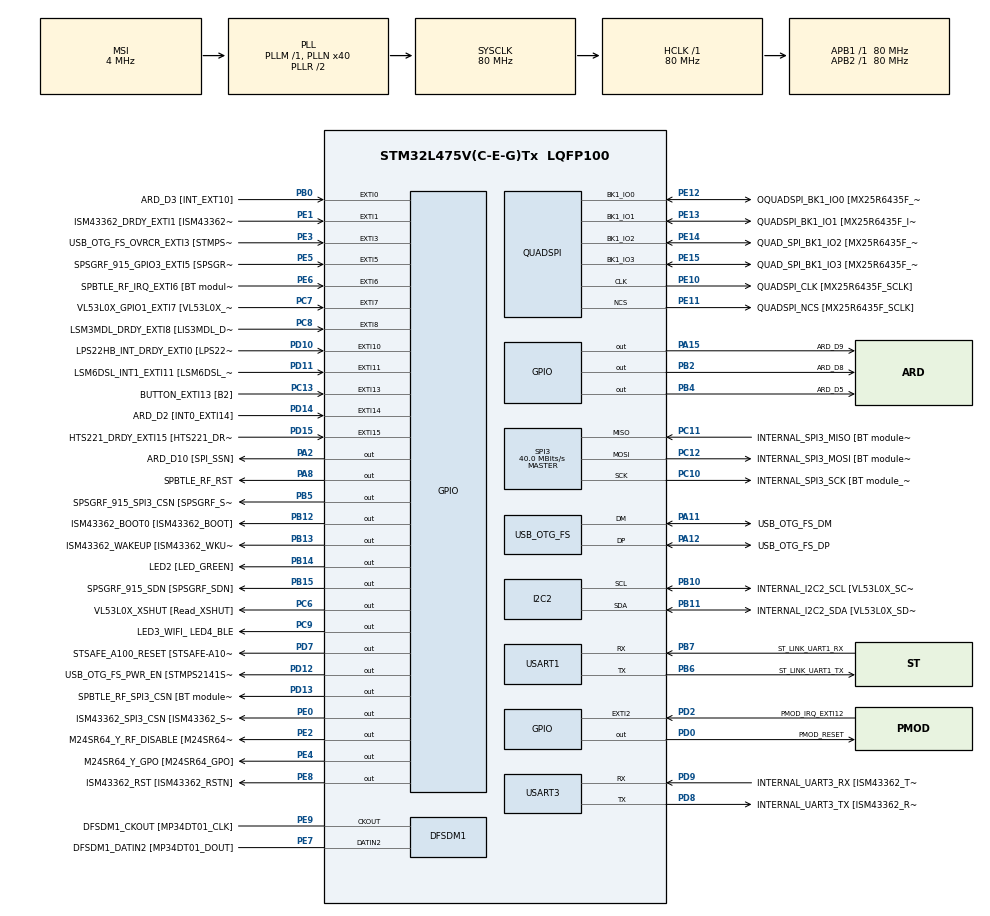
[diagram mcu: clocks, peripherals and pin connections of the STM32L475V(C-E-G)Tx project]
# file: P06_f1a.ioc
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Mcu.Family=STM32L4
Mcu.Name=STM32L475V(C-E-G)Tx
Mcu.Package=LQFP100
NVIC.EXTI15_10_IRQn=true\:0\:0\:false\:false\:true\:true\:true\:true
NVIC.EXTI9_5_IRQn=true\:0\:0\:false\:false\:true\:true\:true\:true
NVIC.OTG_FS_IRQn=true\:0\:0\:false\:false\:true\:true\:true\:true
NVIC.PriorityGroup=NVIC_PRIORITYGROUP_4
PA0.GPIO_Label=ARD_D1 [UART4_TX]
PA0.Signal=UART4_TX
PA1.GPIO_Label=ARD_D0 [UART4_RX]
PA1.Signal=UART4_RX
PA10.GPIO_Label=USB_OTG_FS_ID
PA10.Signal=USB_OTG_FS_ID
PA11.GPIO_Label=USB_OTG_FS_DM
PA11.Mode=Device_Only
PA11.Signal=USB_OTG_FS_DM
PA12.GPIO_Label=USB_OTG_FS_DP
PA12.Mode=Device_Only
PA12.Signal=USB_OTG_FS_DP
PA13\ (JTMS-SWDIO).GPIO_Label=SYS_JTMS_SWDIO
PA13\ (JTMS-SWDIO).Mode=Serial_Wire
PA13\ (JTMS-SWDIO).Signal=SYS_JTMS-SWDIO
PA14\ (JTCK-SWCLK).GPIO_Label=SYS_JTCK_SWCLK
PA14\ (JTCK-SWCLK).Mode=Serial_Wire
PA14\ (JTCK-SWCLK).Signal=SYS_JTCK-SWCLK
PA15\ (JTDI).GPIO_Label=ARD_D9
PA15\ (JTDI).Signal=GPIO_Output
PA2.GPIO_Label=ARD_D10 [SPI_SSN]
PA2.Signal=GPIO_Output
PA3.GPIO_Label=ARD_D4
PA3.Signal=S_TIM2_CH4
PA4.GPIO_Label=ARD_D7
PA4.Signal=ADCx_IN9
PA5.GPIO_Label=ARD_D13 [SPI1_SCK]
PA5.Signal=SPI1_SCK
PA6.GPIO_Label=ARD_D12 [SPI1_MISO]
PA6.Signal=SPI1_MISO
PA7.GPIO_Label=ARD_D11 [SPI1_MOSI]
PA7.Signal=SPI1_MOSI
PA8.GPIO_Label=SPBTLE_RF_RST
PA8.Signal=GPIO_Output
PA9.GPIO_Label=USB_OTG_FS_VBUS [STMPS2141STR_OUT]
PA9.Signal=USB_OTG_FS_VBUS
PB0.GPIO_Label=ARD_D3 [INT_EXT10]
PB0.Signal=GPXTI0
PB1.GPIO_Label=ARD_D6 [ADC1_IN6]
PB1.Signal=ADCx_IN16
PB10.GPIO_Label=INTERNAL_I2C2_SCL [VL53L0X_SCL]
PB10.GPIO_Pu=GPIO_PULLUP
PB10.Mode=I2C
PB10.Signal=I2C2_SCL
PB11.GPIO_Label=INTERNAL_I2C2_SDA [VL53L0X_SDA]
PB11.GPIO_Pu=GPIO_PULLUP
PB11.Mode=I2C
PB11.Signal=I2C2_SDA
PB12.GPIO_Label=ISM43362_BOOT0 [ISM43362_BOOT]
PB12.Signal=GPIO_Output
PB13.GPIO_Label=ISM43362_WAKEUP [ISM43362_WKUP]
PB13.Signal=GPIO_Output
PB14.GPIO_Label=LED2 [LED_GREEN]
PB14.Signal=GPIO_Output
PB15.GPIO_Label=SPSGRF_915_SDN [SPSGRF_SDN]
PB15.Signal=GPIO_Output
PB2.GPIO_Label=ARD_D8
PB2.Signal=GPIO_Output
PB3\ (JTDO-TRACESWO).GPIO_Label=SYS_JTD0_SWO
PB3\ (JTDO-TRACESWO).Signal=SYS_JTDO-SWO
PB4\ (NJTRST).GPIO_Label=ARD_D5
PB4\ (NJTRST).Signal=GPIO_Output
PB5.GPIO_Label=SPSGRF_915_SPI3_CSN [SPSGRF_SPI_CS]
PB5.PinState=GPIO_PIN_SET
PB5.Signal=GPIO_Output
PB6.GPIO_Label=ST_LINK_UART1_TX
PB6.Mode=Asynchronous
PB6.Signal=USART1_TX
PB7.GPIO_Label=ST_LINK_UART1_RX
PB7.Mode=Asynchronous
PB7.Signal=USART1_RX
PB8.GPIO_Label=ARD_D15 [I2C1_SCL]
PB8.Signal=I2C1_SCL
PB9.GPIO_Label=ARD_D14 [I2C1_SDA]
PB9.Signal=I2C1_SDA
PC0.GPIO_Label=ARD_A5 [ADC]
PC0.Signal=ADCx_IN1
PC1.GPIO_Label=ARD_A4 [ADC]
PC1.Signal=ADCx_IN2
PC10.GPIO_Label=INTERNAL_SPI3_SCK [BT module_SPI_SCLK] [ISM43362_SCK]
PC10.Mode=Full_Duplex_Master
PC10.Signal=SPI3_SCK
PC11.GPIO_Label=INTERNAL_SPI3_MISO [BT module_SPI_MISO] [ISM43362_MISO]
PC11.Mode=Full_Duplex_Master
PC11.Signal=SPI3_MISO
PC12.GPIO_Label=INTERNAL_SPI3_MOSI [BT module_SPI_MOSI] [ISM43362_MOSI]
PC12.Mode=Full_Duplex_Master
PC12.Signal=SPI3_MOSI
PC13.GPIO_Label=BUTTON_EXTI13 [B2]
PC13.GPIO_ModeDefaultEXTI=GPIO_MODE_IT_FALLING
PC13.Signal=GPXTI13
PC14-OSC32_IN\ (PC14).Mode=LSE-External-Oscillator
PC14-OSC32_IN\ (PC14).Signal=RCC_OSC32_IN
PC15-OSC32_OUT\ (PC15).Mode=LSE-External-Oscillator
PC15-OSC32_OUT\ (PC15).Signal=RCC_OSC32_OUT
PC2.GPIO_Label=ARD_A3 [ADC]
PC2.Signal=ADCx_IN3
PC3.GPIO_Label=ARD_A2 [ADC]
PC3.Signal=ADCx_IN4
PC4.GPIO_Label=ARD_A1 [ADC]
PC4.Signal=ADCx_IN13
PC5.GPIO_Label=ARD_A0 [ADC]
PC5.Signal=ADCx_IN14
PC6.GPIO_Label=VL53L0X_XSHUT [Read_XSHUT]
PC6.Signal=GPIO_Output
PC7.GPIO_Label=VL53L0X_GPIO1_EXTI7 [VL53L0X_GPIO1]
PC7.Signal=GPXTI7
PC8.GPIO_Label=LSM3MDL_DRDY_EXTI8 [LIS3MDL_DRDY]
PC8.Signal=GPXTI8
PC9.GPIO_Label=LED3_WIFI_ LED4_BLE
PC9.Signal=GPIO_Output
PD0.GPIO_Label=PMOD_RESET
PD0.Signal=GPIO_Output
PD1.GPIO_Label=PMOD_SPI2_SCK
PD1.Signal=SPI2_SCK
PD10.GPIO_Label=LPS22HB_INT_DRDY_EXTI0 [LPS22HB_INT_DRDY] 
PD10.Signal=GPXTI10
PD11.GPIO_Label=LSM6DSL_INT1_EXTI11 [LSM6DSL_INT1]
PD11.Signal=GPXTI11
PD12.GPIO_Label=USB_OTG_FS_PWR_EN [STMPS2141STR_EN]
PD12.Signal=GPIO_Output
PD13.GPIO_Label=SPBTLE_RF_SPI3_CSN [BT module_SPI_CS]
PD13.PinState=GPIO_PIN_SET
PD13.Signal=GPIO_Output
PD14.GPIO_Label=ARD_D2 [INT0_EXTI14]
PD14.Signal=GPXTI14
PD15.GPIO_Label=HTS221_DRDY_EXTI15 [HTS221_DRDY]
PD15.Signal=GPXTI15
PD2.GPIO_Label=PMOD_IRQ_EXTI12
PD2.Signal=GPXTI2
PD3.GPIO_Label=PMOD_UART2_CTS
PD3.Signal=USART2_CTS
PD4.GPIO_Label=PMOD_UART2_RTS
PD4.Signal=USART2_RTS
PD5.GPIO_Label=PMOD_UART2_TX
PD5.Signal=USART2_TX
PD6.GPIO_Label=PMOD_UART2_RX
PD6.Signal=USART2_RX
PD7.GPIO_Label=STSAFE_A100_RESET [STSAFE-A100_RESET]
PD7.Signal=GPIO_Output
PD8.GPIO_Label=INTERNAL_UART3_TX [ISM43362_RX]
PD8.Mode=Asynchronous
PD8.Signal=USART3_TX
PD9.GPIO_Label=INTERNAL_UART3_RX [ISM43362_TX]
PD9.Mode=Asynchronous
PD9.Signal=USART3_RX
PE0.GPIO_Label=ISM43362_SPI3_CSN [ISM43362_SSN]
PE0.PinState=GPIO_PIN_SET
PE0.Signal=GPIO_Output
PE1.GPIO_Label=ISM43362_DRDY_EXTI1 [ISM43362_DATARDY]
PE1.Signal=GPXTI1
PE10.GPIO_Label=QUADSPI_CLK [MX25R6435F_SCLK]
PE10.Mode=Single Bank
PE10.Signal=QUADSPI_CLK
PE11.GPIO_Label=QUADSPI_NCS [MX25R6435F_SCLK]
PE11.Mode=Single Bank
PE11.Signal=QUADSPI_NCS
PE12.GPIO_Label=OQUADSPI_BK1_IO0 [MX25R6435F_IO0]
PE12.Mode=Single Bank
PE12.Signal=QUADSPI_BK1_IO0
PE13.GPIO_Label=QUADSPI_BK1_IO1 [MX25R6435F_IO1]
PE13.Mode=Single Bank
PE13.Signal=QUADSPI_BK1_IO1
PE14.GPIO_Label=QUAD_SPI_BK1_IO2 [MX25R6435F_IO2]
PE14.Mode=Single Bank
PE14.Signal=QUADSPI_BK1_IO2
PE15.GPIO_Label=QUAD_SPI_BK1_IO3 [MX25R6435F_IO3]
PE15.Mode=Single Bank
PE15.Signal=QUADSPI_BK1_IO3
PE2.GPIO_Label=M24SR64_Y_RF_DISABLE [M24SR64_RFDIS]
PE2.Signal=GPIO_Output
PE3.GPIO_Label=USB_OTG_FS_OVRCR_EXTI3 [STMPS2141STR_FAULT]
PE3.Signal=GPXTI3
PE4.GPIO_Label=M24SR64_Y_GPO [M24SR64_GPO]
PE4.Signal=GPIO_Output
PE5.GPIO_Label=SPSGRF_915_GPIO3_EXTI5 [SPSGRF_GPIO_3]
PE5.Signal=GPXTI5
PE6.GPIO_Label=SPBTLE_RF_IRQ_EXTI6 [BT module_SPI_IRQ]
PE6.Signal=GPXTI6
PE7.GPIO_Label=DFSDM1_DATIN2 [MP34DT01_DOUT]
PE7.Signal=S_DATAIN2DFSDM1
PE8.GPIO_Label=ISM43362_RST [ISM43362_RSTN]
PE8.Signal=GPIO_Output
PE9.GPIO_Label=DFSDM1_CKOUT [MP34DT01_CLK]
PE9.Signal=S_CKOUTDFSDM1
ProjectManager.HeapSize=0x200
ProjectManager.StackSize=0x400
ProjectManager.TargetToolchain=STM32CubeIDE
QUADSPI.ClockPrescaler=2
QUADSPI.FifoThreshold=4
QUADSPI.FlashSize=23
QUADSPI.SampleShifting=QSPI_SAMPLE_SHIFTING_HALFCYCLE
RCC.ADCFreq_Value=48000000
RCC.AHBFreq_Value=80000000
RCC.APB1Freq_Value=80000000
RCC.APB1TimFreq_Value=80000000
RCC.APB2Freq_Value=80000000
RCC.APB2TimFreq_Value=80000000
RCC.CortexFreq_Value=80000000
RCC.HCLKFreq_Value=80000000
RCC.HSE_VALUE=8000000
RCC.HSI_VALUE=16000000
RCC.MSI_VALUE=4000000
RCC.PLLN=40
RCC.PLLSAI1N=24
RCC.SYSCLKFreq_VALUE=80000000
RCC.SYSCLKSource=RCC_SYSCLKSOURCE_PLLCLK
RCC.USBFreq_Value=48000000
RCC.VCOOutputFreq_Value=160000000
SH.ADCx_IN1.0=ADC1_IN1
SH.ADCx_IN13.0=ADC1_IN13
SH.ADCx_IN14.0=ADC1_IN14
SH.ADCx_IN16.0=ADC1_IN16
SH.ADCx_IN2.0=ADC1_IN2
SH.ADCx_IN3.0=ADC1_IN3
SH.ADCx_IN4.0=ADC1_IN4
SH.ADCx_IN9.0=ADC1_IN9
SH.S_CKOUTDFSDM1.0=DFSDM1_CKOUT,CKOUT
SH.S_CKOUTDFSDM1.1=DFSDM1_CKOUT,PDM_SPI_Input_from_ch12_and_Internal_Clock
SH.S_DATAIN2DFSDM1.0=DFSDM1_DATIN2,PDM_SPI_Input_from_ch12_and_Internal_Clock
SH.S_TIM2_CH4.0=TIM2_CH4
SPI3.CalculateBaudRate=40.0 MBits/s
SPI3.Direction=SPI_DIRECTION_2LINES
SPI3.Mode=SPI_MODE_MASTER
SPI3.VirtualType=VM_MASTER
USART1.VirtualMode-Asynchronous=VM_ASYNC
USART3.VirtualMode-Asynchronous=VM_ASYNC
USB_DEVICE.CLASS_NAME_FS=CUSTOM_HID
USB_DEVICE.USBD_CUSTOMHID_OUTREPORT_BUF_SIZE=4
USB_DEVICE.USBD_CUSTOM_HID_REPORT_DESC_SIZE=74
USB_DEVICE.VirtualMode=CustomHid
USB_DEVICE.VirtualModeFS=Custom_Hid_FS
USB_OTG_FS.VirtualMode=Device_Only
VP_USB_DEVICE_VS_USB_DEVICE_CUSTOM_HID_FS.Mode=CUSTOM_HID_FS
board=B-L475E-IOT01A1

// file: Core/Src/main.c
/* USER CODE BEGIN Header */
/**
  ******************************************************************************
  * @file           : main.c
  * @brief          : Main program body
  ******************************************************************************
  * @attention
  *
  * Copyright (c) 2024 STMicroelectronics.
  * All rights reserved.
  *
  * This software is licensed under terms that can be found in the LICENSE file
  * in the root directory of this software component.
  * If no LICENSE file comes with this software, it is provided AS-IS.
  *
  ******************************************************************************
  */
/* USER CODE END Header */
#include "main.h"
#include "usb_device.h"

#define USER_BUTTON_PIN GPIO_PIN_0
#define USER_BUTTON_PORT GPIOA

DFSDM_Channel_HandleTypeDef hdfsdm1_channel1;

I2C_HandleTypeDef hi2c2;

QSPI_HandleTypeDef hqspi;

SPI_HandleTypeDef hspi3;

UART_HandleTypeDef huart1;
UART_HandleTypeDef huart3;

void SystemClock_Config(void);
static void MX_GPIO_Init(void);
static void MX_DFSDM1_Init(void);
static void MX_I2C2_Init(void);
static void MX_QUADSPI_Init(void);
static void MX_SPI3_Init(void);
static void MX_USART1_UART_Init(void);
static void MX_USART3_UART_Init(void);

int main(void)
{
  /* USER CODE BEGIN 1 */
	int i; //declaramos las variables que vamos a usar en nuestra función
	uint8_t dato[3]; // esta es la variable donde vamos a mandar el report
  /* USER CODE END 1 */

  /* MCU Configuration--------------------------------------------------------*/

  /* Reset of all peripherals, Initializes the Flash interface and the Systick. */
  HAL_Init();

  /* USER CODE BEGIN Init */
  int16_t readAccel(uint8_t axxis){
  	uint8_t buffer[2];
  	int16_t accel;

  	uint8_t regAddr = 0x28 + (axxis * 2);

  	HAL_I2C_Mem_Read(&hi2c2, 0xD4, regAddr, I2C_MEMADD_SIZE_8BIT, buffer, 2, 1000);

  	accel=((int16_t)(buffer[1]<<8)|buffer[0])*0.00061;
  	if(axxis==0){
  		accel=-accel;
  	}
  	return accel;

  }

  void initAccelerometer(void){
  	uint8_t buffer[1];
  	buffer[0]=0x40;
  	HAL_I2C_Mem_Write(&hi2c2, 0xD4, 0x10, I2C_MEMADD_SIZE_8BIT, buffer, 1, 1000);
  }

  /* USER CODE END Init */

  /* Configure the system clock */
  SystemClock_Config();

  /* Initialize all configured peripherals */
  MX_GPIO_Init();
  MX_DFSDM1_Init();
  MX_I2C2_Init();
  MX_QUADSPI_Init();
  MX_SPI3_Init();
  MX_USART1_UART_Init();
  MX_USART3_UART_Init();
  MX_USB_DEVICE_Init();
  initAccelerometer();

  GPIO_InitTypeDef GPIO_InitStruct;
  GPIO_InitStruct.Pin = USER_BUTTON_PIN;
  GPIO_InitStruct.Mode = GPIO_MODE_INPUT;
  GPIO_InitStruct.Pull = GPIO_PULLUP; // Usar resistencia de pull-up interna
  HAL_GPIO_Init(USER_BUTTON_PORT, &GPIO_InitStruct);

  /* USER CODE BEGIN 2 */
  HAL_Delay(5000); //retraso para esperar a que el USB se configure
  dato[0]=0; //estos son los tres botones, ninguno pulsado
  /* USER CODE END 2 */

  /* Infinite loop */
  /* USER CODE BEGIN WHILE */
  while (1)
  {
// segunda parte fase1
	 int16_t x;
	 int16_t y;

	 x= readAccel(0);
	 y= readAccel(1);
	 if(HAL_GPIO_ReadPin(GPIOA, GPIO_PIN_0) == GPIO_PIN_RESET){
		 dato[0]=2;
	 }
	 dato[1]=x; //cada 100ms desplazamos el ratón 4 posiciones
	 dato[2]=y;
	 USBD_CUSTOM_HID_SendReport_FS(dato,3);
	 HAL_Delay(100);

// parte primera fase1
//	  for (i=0;i<50;i++){
//	   dato[1]=4; //cada 100ms desplazamos el ratón 4 posiciones
//	   dato[2]=4;
//	   USBD_CUSTOM_HID_SendReport_FS(dato,3);
//	   HAL_Delay(100);
//	  }
//	  for (i=0;i<50;i++){
//	   dato[1]=-4;
//	   dato[2]=-4;
//	   USBD_CUSTOM_HID_SendReport_FS(dato,3);
//	   HAL_Delay(100);
//	  }

    /* USER CODE END WHILE */

  }
}

void SystemClock_Config(void)
{
  RCC_OscInitTypeDef RCC_OscInitStruct = {0};
  RCC_ClkInitTypeDef RCC_ClkInitStruct = {0};

  /** Configure the main internal regulator output voltage
  */
  if (HAL_PWREx_ControlVoltageScaling(PWR_REGULATOR_VOLTAGE_SCALE1) != HAL_OK)
  {
    Error_Handler();
  }

  /** Configure LSE Drive Capability
  */
  HAL_PWR_EnableBkUpAccess();
  __HAL_RCC_LSEDRIVE_CONFIG(RCC_LSEDRIVE_LOW);

  /** Initializes the RCC Oscillators according to the specified parameters
  * in the RCC_OscInitTypeDef structure.
  */
  RCC_OscInitStruct.OscillatorType = RCC_OSCILLATORTYPE_LSE|RCC_OSCILLATORTYPE_MSI;
  RCC_OscInitStruct.LSEState = RCC_LSE_ON;
  RCC_OscInitStruct.MSIState = RCC_MSI_ON;
  RCC_OscInitStruct.MSICalibrationValue = 0;
  RCC_OscInitStruct.MSIClockRange = RCC_MSIRANGE_6;
  RCC_OscInitStruct.PLL.PLLState = RCC_PLL_ON;
  RCC_OscInitStruct.PLL.PLLSource = RCC_PLLSOURCE_MSI;
  RCC_OscInitStruct.PLL.PLLM = 1;
  RCC_OscInitStruct.PLL.PLLN = 40;
  RCC_OscInitStruct.PLL.PLLP = RCC_PLLP_DIV7;
  RCC_OscInitStruct.PLL.PLLQ = RCC_PLLQ_DIV2;
  RCC_OscInitStruct.PLL.PLLR = RCC_PLLR_DIV2;
  if (HAL_RCC_OscConfig(&RCC_OscInitStruct) != HAL_OK)
  {
    Error_Handler();
  }

  /** Initializes the CPU, AHB and APB buses clocks
  */
  RCC_ClkInitStruct.ClockType = RCC_CLOCKTYPE_HCLK|RCC_CLOCKTYPE_SYSCLK
                              |RCC_CLOCKTYPE_PCLK1|RCC_CLOCKTYPE_PCLK2;
  RCC_ClkInitStruct.SYSCLKSource = RCC_SYSCLKSOURCE_PLLCLK;
  RCC_ClkInitStruct.AHBCLKDivider = RCC_SYSCLK_DIV1;
  RCC_ClkInitStruct.APB1CLKDivider = RCC_HCLK_DIV1;
  RCC_ClkInitStruct.APB2CLKDivider = RCC_HCLK_DIV1;

  if (HAL_RCC_ClockConfig(&RCC_ClkInitStruct, FLASH_LATENCY_4) != HAL_OK)
  {
    Error_Handler();
  }

  /** Enable MSI Auto calibration
  */
  HAL_RCCEx_EnableMSIPLLMode();
}

static void MX_DFSDM1_Init(void)
{

  hdfsdm1_channel1.Instance = DFSDM1_Channel1;
  hdfsdm1_channel1.Init.OutputClock.Activation = ENABLE;
  hdfsdm1_channel1.Init.OutputClock.Selection = DFSDM_CHANNEL_OUTPUT_CLOCK_SYSTEM;
  hdfsdm1_channel1.Init.OutputClock.Divider = 2;
  hdfsdm1_channel1.Init.Input.Multiplexer = DFSDM_CHANNEL_EXTERNAL_INPUTS;
  hdfsdm1_channel1.Init.Input.DataPacking = DFSDM_CHANNEL_STANDARD_MODE;
  hdfsdm1_channel1.Init.Input.Pins = DFSDM_CHANNEL_FOLLOWING_CHANNEL_PINS;
  hdfsdm1_channel1.Init.SerialInterface.Type = DFSDM_CHANNEL_SPI_RISING;
  hdfsdm1_channel1.Init.SerialInterface.SpiClock = DFSDM_CHANNEL_SPI_CLOCK_INTERNAL;
  hdfsdm1_channel1.Init.Awd.FilterOrder = DFSDM_CHANNEL_FASTSINC_ORDER;
  hdfsdm1_channel1.Init.Awd.Oversampling = 1;
  hdfsdm1_channel1.Init.Offset = 0;
  hdfsdm1_channel1.Init.RightBitShift = 0x00;
  if (HAL_DFSDM_ChannelInit(&hdfsdm1_channel1) != HAL_OK)
  {
    Error_Handler();
  }

}

static void MX_I2C2_Init(void)
{

  hi2c2.Instance = I2C2;
  hi2c2.Init.Timing = 0x00000E14;
  hi2c2.Init.OwnAddress1 = 0;
  hi2c2.Init.AddressingMode = I2C_ADDRESSINGMODE_7BIT;
  hi2c2.Init.DualAddressMode = I2C_DUALADDRESS_DISABLE;
  hi2c2.Init.OwnAddress2 = 0;
  hi2c2.Init.OwnAddress2Masks = I2C_OA2_NOMASK;
  hi2c2.Init.GeneralCallMode = I2C_GENERALCALL_DISABLE;
  hi2c2.Init.NoStretchMode = I2C_NOSTRETCH_DISABLE;
  if (HAL_I2C_Init(&hi2c2) != HAL_OK)
  {
    Error_Handler();
  }

  /** Configure Analogue filter
  */
  if (HAL_I2CEx_ConfigAnalogFilter(&hi2c2, I2C_ANALOGFILTER_ENABLE) != HAL_OK)
  {
    Error_Handler();
  }

  /** Configure Digital filter
  */
  if (HAL_I2CEx_ConfigDigitalFilter(&hi2c2, 0) != HAL_OK)
  {
    Error_Handler();
  }

}

static void MX_QUADSPI_Init(void)
{

  /* QUADSPI parameter configuration*/
  hqspi.Instance = QUADSPI;
  hqspi.Init.ClockPrescaler = 2;
  hqspi.Init.FifoThreshold = 4;
  hqspi.Init.SampleShifting = QSPI_SAMPLE_SHIFTING_HALFCYCLE;
  hqspi.Init.FlashSize = 23;
  hqspi.Init.ChipSelectHighTime = QSPI_CS_HIGH_TIME_1_CYCLE;
  hqspi.Init.ClockMode = QSPI_CLOCK_MODE_0;
  if (HAL_QSPI_Init(&hqspi) != HAL_OK)
  {
    Error_Handler();
  }

}

static void MX_SPI3_Init(void)
{

  /* SPI3 parameter configuration*/
  hspi3.Instance = SPI3;
  hspi3.Init.Mode = SPI_MODE_MASTER;
  hspi3.Init.Direction = SPI_DIRECTION_2LINES;
  hspi3.Init.DataSize = SPI_DATASIZE_4BIT;
  hspi3.Init.CLKPolarity = SPI_POLARITY_LOW;
  hspi3.Init.CLKPhase = SPI_PHASE_1EDGE;
  hspi3.Init.NSS = SPI_NSS_SOFT;
  hspi3.Init.BaudRatePrescaler = SPI_BAUDRATEPRESCALER_2;
  hspi3.Init.FirstBit = SPI_FIRSTBIT_MSB;
  hspi3.Init.TIMode = SPI_TIMODE_DISABLE;
  hspi3.Init.CRCCalculation = SPI_CRCCALCULATION_DISABLE;
  hspi3.Init.CRCPolynomial = 7;
  hspi3.Init.CRCLength = SPI_CRC_LENGTH_DATASIZE;
  hspi3.Init.NSSPMode = SPI_NSS_PULSE_ENABLE;
  if (HAL_SPI_Init(&hspi3) != HAL_OK)
  {
    Error_Handler();
  }

}

static void MX_USART1_UART_Init(void)
{

  huart1.Instance = USART1;
  huart1.Init.BaudRate = 115200;
  huart1.Init.WordLength = UART_WORDLENGTH_8B;
  huart1.Init.StopBits = UART_STOPBITS_1;
  huart1.Init.Parity = UART_PARITY_NONE;
  huart1.Init.Mode = UART_MODE_TX_RX;
  huart1.Init.HwFlowCtl = UART_HWCONTROL_NONE;
  huart1.Init.OverSampling = UART_OVERSAMPLING_16;
  huart1.Init.OneBitSampling = UART_ONE_BIT_SAMPLE_DISABLE;
  huart1.AdvancedInit.AdvFeatureInit = UART_ADVFEATURE_NO_INIT;
  if (HAL_UART_Init(&huart1) != HAL_OK)
  {
    Error_Handler();
  }

}

static void MX_USART3_UART_Init(void)
{

  huart3.Instance = USART3;
  huart3.Init.BaudRate = 115200;
  huart3.Init.WordLength = UART_WORDLENGTH_8B;
  huart3.Init.StopBits = UART_STOPBITS_1;
  huart3.Init.Parity = UART_PARITY_NONE;
  huart3.Init.Mode = UART_MODE_TX_RX;
  huart3.Init.HwFlowCtl = UART_HWCONTROL_NONE;
  huart3.Init.OverSampling = UART_OVERSAMPLING_16;
  huart3.Init.OneBitSampling = UART_ONE_BIT_SAMPLE_DISABLE;
  huart3.AdvancedInit.AdvFeatureInit = UART_ADVFEATURE_NO_INIT;
  if (HAL_UART_Init(&huart3) != HAL_OK)
  {
    Error_Handler();
  }

}

static void MX_GPIO_Init(void)
{
  GPIO_InitTypeDef GPIO_InitStruct = {0};

  /* GPIO Ports Clock Enable */
  __HAL_RCC_GPIOE_CLK_ENABLE();
  __HAL_RCC_GPIOC_CLK_ENABLE();
  __HAL_RCC_GPIOA_CLK_ENABLE();
  __HAL_RCC_GPIOB_CLK_ENABLE();
  __HAL_RCC_GPIOD_CLK_ENABLE();

  /*Configure GPIO pin Output Level */
  HAL_GPIO_WritePin(GPIOE, M24SR64_Y_RF_DISABLE_Pin|M24SR64_Y_GPO_Pin|ISM43362_RST_Pin, GPIO_PIN_RESET);

  /*Configure GPIO pin Output Level */
  HAL_GPIO_WritePin(GPIOA, ARD_D10_Pin|SPBTLE_RF_RST_Pin|ARD_D9_Pin, GPIO_PIN_RESET);

  /*Configure GPIO pin Output Level */
  HAL_GPIO_WritePin(GPIOB, ARD_D8_Pin|ISM43362_BOOT0_Pin|ISM43362_WAKEUP_Pin|LED2_Pin
                          |SPSGRF_915_SDN_Pin|ARD_D5_Pin, GPIO_PIN_RESET);

  /*Configure GPIO pin Output Level */
  HAL_GPIO_WritePin(GPIOD, USB_OTG_FS_PWR_EN_Pin|PMOD_RESET_Pin|STSAFE_A100_RESET_Pin, GPIO_PIN_RESET);

  /*Configure GPIO pin Output Level */
  HAL_GPIO_WritePin(SPBTLE_RF_SPI3_CSN_GPIO_Port, SPBTLE_RF_SPI3_CSN_Pin, GPIO_PIN_SET);

  /*Configure GPIO pin Output Level */
  HAL_GPIO_WritePin(GPIOC, VL53L0X_XSHUT_Pin|LED3_WIFI__LED4_BLE_Pin, GPIO_PIN_RESET);

  /*Configure GPIO pin Output Level */
  HAL_GPIO_WritePin(SPSGRF_915_SPI3_CSN_GPIO_Port, SPSGRF_915_SPI3_CSN_Pin, GPIO_PIN_SET);

  /*Configure GPIO pin Output Level */
  HAL_GPIO_WritePin(ISM43362_SPI3_CSN_GPIO_Port, ISM43362_SPI3_CSN_Pin, GPIO_PIN_SET);

  /*Configure GPIO pins : M24SR64_Y_RF_DISABLE_Pin M24SR64_Y_GPO_Pin ISM43362_RST_Pin ISM43362_SPI3_CSN_Pin */
  GPIO_InitStruct.Pin = M24SR64_Y_RF_DISABLE_Pin|M24SR64_Y_GPO_Pin|ISM43362_RST_Pin|ISM43362_SPI3_CSN_Pin;
  GPIO_InitStruct.Mode = GPIO_MODE_OUTPUT_PP;
  GPIO_InitStruct.Pull = GPIO_NOPULL;
  GPIO_InitStruct.Speed = GPIO_SPEED_FREQ_LOW;
  HAL_GPIO_Init(GPIOE, &GPIO_InitStruct);

  /*Configure GPIO pins : USB_OTG_FS_OVRCR_EXTI3_Pin SPSGRF_915_GPIO3_EXTI5_Pin SPBTLE_RF_IRQ_EXTI6_Pin ISM43362_DRDY_EXTI1_Pin */
  GPIO_InitStruct.Pin = USB_OTG_FS_OVRCR_EXTI3_Pin|SPSGRF_915_GPIO3_EXTI5_Pin|SPBTLE_RF_IRQ_EXTI6_Pin|ISM43362_DRDY_EXTI1_Pin;
  GPIO_InitStruct.Mode = GPIO_MODE_IT_RISING;
  GPIO_InitStruct.Pull = GPIO_NOPULL;
  HAL_GPIO_Init(GPIOE, &GPIO_InitStruct);

  /*Configure GPIO pin : BUTTON_EXTI13_Pin */
  GPIO_InitStruct.Pin = BUTTON_EXTI13_Pin;
  GPIO_InitStruct.Mode = GPIO_MODE_IT_FALLING;
  GPIO_InitStruct.Pull = GPIO_NOPULL;
  HAL_GPIO_Init(BUTTON_EXTI13_GPIO_Port, &GPIO_InitStruct);

  /*Configure GPIO pins : ARD_A5_Pin ARD_A4_Pin ARD_A3_Pin ARD_A2_Pin
                           ARD_A1_Pin ARD_A0_Pin */
  GPIO_InitStruct.Pin = ARD_A5_Pin|ARD_A4_Pin|ARD_A3_Pin|ARD_A2_Pin
                          |ARD_A1_Pin|ARD_A0_Pin;
  GPIO_InitStruct.Mode = GPIO_MODE_ANALOG_ADC_CONTROL;
  GPIO_InitStruct.Pull = GPIO_NOPULL;
  HAL_GPIO_Init(GPIOC, &GPIO_InitStruct);

  /*Configure GPIO pins : ARD_D1_Pin ARD_D0_Pin */
  GPIO_InitStruct.Pin = ARD_D1_Pin|ARD_D0_Pin;
  GPIO_InitStruct.Mode = GPIO_MODE_AF_PP;
  GPIO_InitStruct.Pull = GPIO_NOPULL;
  GPIO_InitStruct.Speed = GPIO_SPEED_FREQ_VERY_HIGH;
  GPIO_InitStruct.Alternate = GPIO_AF8_UART4;
  HAL_GPIO_Init(GPIOA, &GPIO_InitStruct);

  /*Configure GPIO pins : ARD_D10_Pin SPBTLE_RF_RST_Pin ARD_D9_Pin */
  GPIO_InitStruct.Pin = ARD_D10_Pin|SPBTLE_RF_RST_Pin|ARD_D9_Pin;
  GPIO_InitStruct.Mode = GPIO_MODE_OUTPUT_PP;
  GPIO_InitStruct.Pull = GPIO_NOPULL;
  GPIO_InitStruct.Speed = GPIO_SPEED_FREQ_LOW;
  HAL_GPIO_Init(GPIOA, &GPIO_InitStruct);

  /*Configure GPIO pin : ARD_D4_Pin */
  GPIO_InitStruct.Pin = ARD_D4_Pin;
  GPIO_InitStruct.Mode = GPIO_MODE_AF_PP;
  GPIO_InitStruct.Pull = GPIO_NOPULL;
  GPIO_InitStruct.Speed = GPIO_SPEED_FREQ_LOW;
  GPIO_InitStruct.Alternate = GPIO_AF1_TIM2;
  HAL_GPIO_Init(ARD_D4_GPIO_Port, &GPIO_InitStruct);

  /*Configure GPIO pin : ARD_D7_Pin */
  GPIO_InitStruct.Pin = ARD_D7_Pin;
  GPIO_InitStruct.Mode = GPIO_MODE_ANALOG_ADC_CONTROL;
  GPIO_InitStruct.Pull = GPIO_NOPULL;
  HAL_GPIO_Init(ARD_D7_GPIO_Port, &GPIO_InitStruct);

  /*Configure GPIO pins : ARD_D13_Pin ARD_D12_Pin ARD_D11_Pin */
  GPIO_InitStruct.Pin = ARD_D13_Pin|ARD_D12_Pin|ARD_D11_Pin;
  GPIO_InitStruct.Mode = GPIO_MODE_AF_PP;
  GPIO_InitStruct.Pull = GPIO_NOPULL;
  GPIO_InitStruct.Speed = GPIO_SPEED_FREQ_VERY_HIGH;
  GPIO_InitStruct.Alternate = GPIO_AF5_SPI1;
  HAL_GPIO_Init(GPIOA, &GPIO_InitStruct);

  /*Configure GPIO pin : ARD_D3_Pin */
  GPIO_InitStruct.Pin = ARD_D3_Pin;
  GPIO_InitStruct.Mode = GPIO_MODE_IT_RISING;
  GPIO_InitStruct.Pull = GPIO_NOPULL;
  HAL_GPIO_Init(ARD_D3_GPIO_Port, &GPIO_InitStruct);

  /*Configure GPIO pin : ARD_D6_Pin */
  GPIO_InitStruct.Pin = ARD_D6_Pin;
  GPIO_InitStruct.Mode = GPIO_MODE_ANALOG_ADC_CONTROL;
  GPIO_InitStruct.Pull = GPIO_NOPULL;
  HAL_GPIO_Init(ARD_D6_GPIO_Port, &GPIO_InitStruct);

  /*Configure GPIO pins : ARD_D8_Pin ISM43362_BOOT0_Pin ISM43362_WAKEUP_Pin LED2_Pin
                           SPSGRF_915_SDN_Pin ARD_D5_Pin SPSGRF_915_SPI3_CSN_Pin */
  GPIO_InitStruct.Pin = ARD_D8_Pin|ISM43362_BOOT0_Pin|ISM43362_WAKEUP_Pin|LED2_Pin
                          |SPSGRF_915_SDN_Pin|ARD_D5_Pin|SPSGRF_915_SPI3_CSN_Pin;
  GPIO_InitStruct.Mode = GPIO_MODE_OUTPUT_PP;
  GPIO_InitStruct.Pull = GPIO_NOPULL;
  GPIO_InitStruct.Speed = GPIO_SPEED_FREQ_LOW;
  HAL_GPIO_Init(GPIOB, &GPIO_InitStruct);

  /*Configure GPIO pins : LPS22HB_INT_DRDY_EXTI0_Pin LSM6DSL_INT1_EXTI11_Pin ARD_D2_Pin HTS221_DRDY_EXTI15_Pin
                           PMOD_IRQ_EXTI12_Pin */
  GPIO_InitStruct.Pin = LPS22HB_INT_DRDY_EXTI0_Pin|LSM6DSL_INT1_EXTI11_Pin|ARD_D2_Pin|HTS221_DRDY_EXTI15_Pin
                          |PMOD_IRQ_EXTI12_Pin;
  GPIO_InitStruct.Mode = GPIO_MODE_IT_RISING;
  GPIO_InitStruct.Pull = GPIO_NOPULL;
  HAL_GPIO_Init(GPIOD, &GPIO_InitStruct);

  /*Configure GPIO pins : USB_OTG_FS_PWR_EN_Pin SPBTLE_RF_SPI3_CSN_Pin PMOD_RESET_Pin STSAFE_A100_RESET_Pin */
  GPIO_InitStruct.Pin = USB_OTG_FS_PWR_EN_Pin|SPBTLE_RF_SPI3_CSN_Pin|PMOD_RESET_Pin|STSAFE_A100_RESET_Pin;
  GPIO_InitStruct.Mode = GPIO_MODE_OUTPUT_PP;
  GPIO_InitStruct.Pull = GPIO_NOPULL;
  GPIO_InitStruct.Speed = GPIO_SPEED_FREQ_LOW;
  HAL_GPIO_Init(GPIOD, &GPIO_InitStruct);

  /*Configure GPIO pins : VL53L0X_XSHUT_Pin LED3_WIFI__LED4_BLE_Pin */
  GPIO_InitStruct.Pin = VL53L0X_XSHUT_Pin|LED3_WIFI__LED4_BLE_Pin;
  GPIO_InitStruct.Mode = GPIO_MODE_OUTPUT_PP;
  GPIO_InitStruct.Pull = GPIO_NOPULL;
  GPIO_InitStruct.Speed = GPIO_SPEED_FREQ_LOW;
  HAL_GPIO_Init(GPIOC, &GPIO_InitStruct);

  /*Configure GPIO pins : VL53L0X_GPIO1_EXTI7_Pin LSM3MDL_DRDY_EXTI8_Pin */
  GPIO_InitStruct.Pin = VL53L0X_GPIO1_EXTI7_Pin|LSM3MDL_DRDY_EXTI8_Pin;
  GPIO_InitStruct.Mode = GPIO_MODE_IT_RISING;
  GPIO_InitStruct.Pull = GPIO_NOPULL;
  HAL_GPIO_Init(GPIOC, &GPIO_InitStruct);

  /*Configure GPIO pin : PMOD_SPI2_SCK_Pin */
  GPIO_InitStruct.Pin = PMOD_SPI2_SCK_Pin;
  GPIO_InitStruct.Mode = GPIO_MODE_AF_PP;
  GPIO_InitStruct.Pull = GPIO_NOPULL;
  GPIO_InitStruct.Speed = GPIO_SPEED_FREQ_VERY_HIGH;
  GPIO_InitStruct.Alternate = GPIO_AF5_SPI2;
  HAL_GPIO_Init(PMOD_SPI2_SCK_GPIO_Port, &GPIO_InitStruct);

  /*Configure GPIO pins : PMOD_UART2_CTS_Pin PMOD_UART2_RTS_Pin PMOD_UART2_TX_Pin PMOD_UART2_RX_Pin */
  GPIO_InitStruct.Pin = PMOD_UART2_CTS_Pin|PMOD_UART2_RTS_Pin|PMOD_UART2_TX_Pin|PMOD_UART2_RX_Pin;
  GPIO_InitStruct.Mode = GPIO_MODE_AF_PP;
  GPIO_InitStruct.Pull = GPIO_NOPULL;
  GPIO_InitStruct.Speed = GPIO_SPEED_FREQ_VERY_HIGH;
  GPIO_InitStruct.Alternate = GPIO_AF7_USART2;
  HAL_GPIO_Init(GPIOD, &GPIO_InitStruct);

  /*Configure GPIO pins : ARD_D15_Pin ARD_D14_Pin */
  GPIO_InitStruct.Pin = ARD_D15_Pin|ARD_D14_Pin;
  GPIO_InitStruct.Mode = GPIO_MODE_AF_OD;
  GPIO_InitStruct.Pull = GPIO_NOPULL;
  GPIO_InitStruct.Speed = GPIO_SPEED_FREQ_VERY_HIGH;
  GPIO_InitStruct.Alternate = GPIO_AF4_I2C1;
  HAL_GPIO_Init(GPIOB, &GPIO_InitStruct);

  /* EXTI interrupt init*/
  HAL_NVIC_SetPriority(EXTI9_5_IRQn, 0, 0);
  HAL_NVIC_EnableIRQ(EXTI9_5_IRQn);

  HAL_NVIC_SetPriority(EXTI15_10_IRQn, 0, 0);
  HAL_NVIC_EnableIRQ(EXTI15_10_IRQn);

}

void Error_Handler(void)
{
  __disable_irq();
  while (1)
  {
  }
}
